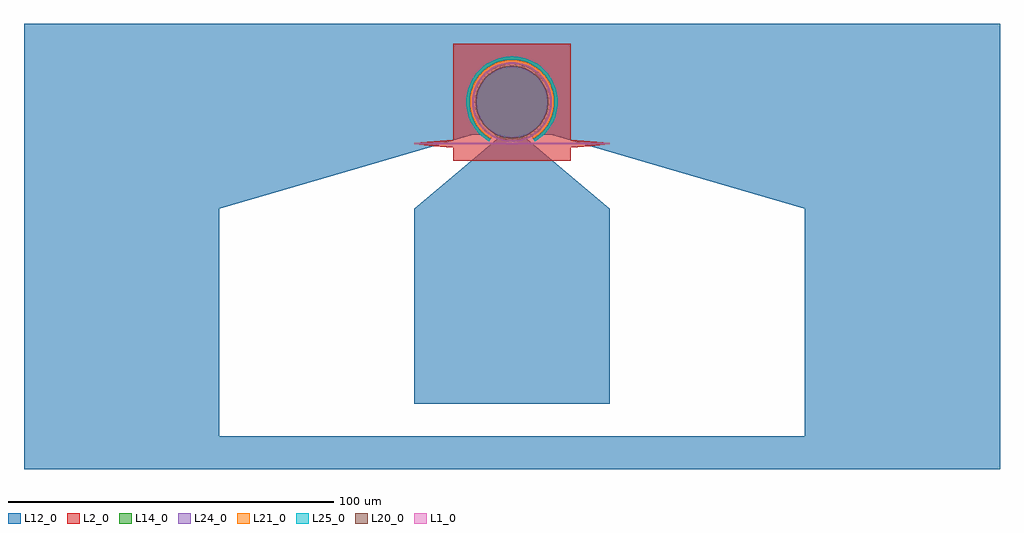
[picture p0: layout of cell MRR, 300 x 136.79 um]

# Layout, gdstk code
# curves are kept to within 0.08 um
import gdstk
lib = gdstk.Library(unit=1e-6, precision=1e-09)
def R(c, l, rs):  # rectangles x0, y0, x1, y1
    for r in rs: c.add(gdstk.rectangle(r[:2], r[2:], *l))
def P(c, l, *ps):  # polygons
    for p in ps: c.add(gdstk.Polygon(p, *l))
L1_0 = (1, 0)
L2_0 = (2, 0)
L12_0 = (12, 0)
L14_0 = (14, 0)
L20_0 = (20, 0)
L21_0 = (21, 0)
L24_0 = (24, 0)
L25_0 = (25, 0)

mrr = lib.new_cell('MRR')
R(mrr, L1_0, [(0,-0.25,60,0.25)])
P(mrr, L1_0, [(31.05,0.59),(33.115,0.945),(34.445,1.38),(35.715,1.96),(36.915,2.685),(38.02,3.535),(39.485,5.04),(40.665,6.77),(41.54,8.68),(41.93,10.02),(42.17,11.4),(42.23,13.495),(42.07,14.885),(41.755,16.245),(40.995,18.2),(40.305,19.42),(39.485,20.55),(38.02,22.055),(36.915,22.905),(35.715,23.63),(33.785,24.445),(32.435,24.8),(31.05,25),(28.95,25),(26.885,24.645),(24.91,23.94),(23.675,23.285),(22.52,22.495),(20.975,21.08),(19.695,19.42),(19.005,18.2),(18.46,16.91),(17.93,14.885),(17.75,12.795),(18.25,12.795),(18.33,14.16),(18.565,15.505),(19.21,17.45),(19.825,18.67),(20.575,19.81),(21.455,20.86),(22.445,21.795),(23.545,22.61),(24.725,23.295),(25.98,23.835),(27.29,24.23),(28.635,24.465),(30,24.545),(31.365,24.465),(32.71,24.23),(34.02,23.835),(35.275,23.295),(37.015,22.22),(38.065,21.34),(39,20.35),(39.815,19.25),(40.5,18.07),(41.04,16.815),(41.435,15.505),(41.67,14.16),(41.75,12.795),(41.67,11.43),(41.435,10.085),(41.04,8.775),(40.5,7.52),(39.815,6.34),(39,5.24),(37.555,3.795),(36.455,2.98),(34.655,2.005),(33.37,1.54),(31.365,1.125),(30,1.045),(28.635,1.125),(26.63,1.54),(25.345,2.005),(23.545,2.98),(22.445,3.795),(21,5.24),(19.825,6.92),(18.96,8.775),(18.43,10.755),(18.25,12.795),(17.75,12.795),(17.77,12.095),(17.93,10.705),(18.245,9.345),(19.005,7.39),(19.695,6.17),(20.515,5.04),(21.98,3.535),(23.085,2.685),(24.285,1.96),(26.215,1.145),(27.565,0.79),(28.95,0.59)])
P(mrr, L2_0, [(54,0.75),(48,1.25),(48,30.795),(12,30.795),(12,1.25),(0,0.25),(0,-0.25),(12,-1.25),(12,-5.205),(48,-5.205),(48,-1.25),(60,-0.25),(60,0.25)])
P(mrr, L12_0, [(46.5,-8.602),(33.457,2.41),(35.089,3.099),(36.22,3.783),(38.196,5.534),(39.696,7.706),(40.632,10.174),(40.95,12.795),(40.632,15.416),(39.696,17.884),(38.196,20.056),(36.753,21.415),(35.665,22.166),(34.494,22.78),(31.974,23.566),(29.339,23.725),(27.379,23.427),(24.911,22.491),(22.739,20.991),(20.988,19.015),(20.015,17.289),(19.229,14.769),(19.07,12.134),(19.229,10.821),(19.546,9.537),(20.629,7.13),(22.257,5.052),(24.335,3.424),(26.543,2.41),(0,-20),(0,-80),(60,-80),(60,-20)],
  [(180,36.795),(-120,36.795),(-120,-90),(-60,-90),(-60,-20),(18,2.795),(21.62,2.795),(20.455,3.895),(19.53,5.005),(18.38,6.855),(17.795,8.18),(17.195,10.27),(16.995,11.71),(16.955,13.16),(17.195,15.32),(17.555,16.725),(18.38,18.735),(19.11,19.99),(20.455,21.695),(21.505,22.7),(23.265,23.975),(25.215,24.935),(26.595,25.39),(28.73,25.785),(30.905,25.815),(33.055,25.48),(35.12,24.8),(37.04,23.78),(38.77,22.46),(40.25,20.87),(41.45,19.055),(42.33,17.07),(42.87,14.96),(43.05,12.795),(42.87,10.63),(42.33,8.52),(41.45,6.535),(40.25,4.72),(38.38,2.795),(42,2.795),(120,-20),(120,-90),(-120,-90),(-120,-100),(180,-100)])
P(mrr, L14_0, [(40.95,12.795),(40.771,14.769),(39.985,17.289),(39.012,19.015),(37.743,20.538),(36.22,21.807),(34.494,22.78),(31.974,23.566),(30,23.745),(28.026,23.566),(25.506,22.78),(23.78,21.807),(22.257,20.538),(20.988,19.015),(20.015,17.289),(19.229,14.769),(19.05,12.795),(19.229,10.821),(20.015,8.301),(20.988,6.575),(22.257,5.052),(23.78,3.783),(25.506,2.81),(28.026,2.024),(30,1.845),(31.974,2.024),(34.494,2.81),(36.22,3.783),(37.743,5.052),(39.012,6.575),(39.985,8.301),(40.771,10.821)],
  [(37.025,0.627),(38.295,1.455),(39.469,2.415),(40.532,3.496),(41.473,4.685),(42.28,5.968),(42.944,7.331),(43.656,9.489),(43.932,10.98),(44.047,12.492),(43.912,14.76),(43.619,16.248),(43.168,17.695),(42.205,19.754),(41.384,21.029),(40.431,22.208),(39.356,23.277),(38.172,24.224),(36.223,25.392),(34.829,25.989),(33.379,26.433),(31.89,26.717),(30.379,26.84),(28.11,26.717),(26.621,26.433),(25.171,25.989),(23.107,25.038),(21.828,24.224),(20.644,23.277),(19.076,21.631),(18.188,20.403),(17.437,19.086),(16.587,16.978),(16.214,15.508),(16.002,14.007),(15.99,11.734),(16.186,10.231),(16.543,8.757),(17.056,7.331),(17.72,5.968),(18.982,4.077),(19.985,2.941),(21.105,1.919),(22.975,0.627),(23.475,1.493),(22.259,2.289),(21.139,3.215),(20.129,4.259),(19.241,5.409),(18.487,6.651),(17.875,7.969),(17.414,9.347),(17.108,10.768),(16.963,12.214),(16.979,13.667),(17.157,15.109),(17.494,16.522),(17.986,17.89),(18.626,19.194),(19.849,20.996),(20.824,22.074),(22.495,23.471),(24.375,24.571),(25.719,25.123),(27.829,25.663),(29.273,25.825),(31.451,25.764),(33.588,25.342),(35.625,24.571),(36.899,23.872),(38.088,23.037),(39.679,21.549),(41,19.817),(41.712,18.551),(42.506,16.522),(42.952,14.39),(43.037,12.214),(42.892,10.768),(42.375,8.652),(41.838,7.302),(40.759,5.409),(39.381,3.723),(38.314,2.736),(36.525,1.493)])
P(mrr, L20_0, [(30.86,0.895),(33.555,1.405),(35.46,2.19),(37.205,3.285),(39.19,5.185),(40.685,7.485),(41.44,9.405),(41.85,11.425),(41.91,13.48),(41.44,16.185),(40.685,18.105),(39.61,19.865),(38.25,21.41),(37.205,22.305),(36.065,23.07),(34.205,23.96),(32.895,24.37),(31.545,24.625),(29.485,24.715),(27.44,24.445),(25.475,23.835),(23.64,22.89),(21.505,21.17),(20.19,19.585),(18.9,17.16),(18.31,15.185),(18.075,12.795),(19.05,12.795),(19.13,14.115),(19.545,16.055),(20.305,17.885),(20.99,19.015),(22.255,20.54),(23.245,21.415),(24.335,22.165),(26.115,23.035),(28.68,23.665),(31.32,23.665),(33.885,23.035),(35.09,22.49),(36.755,21.415),(37.745,20.54),(38.62,19.55),(39.985,17.29),(40.455,16.055),(40.77,14.77),(40.93,13.455),(40.93,12.135),(40.455,9.535),(39.37,7.13),(38.62,6.04),(37.745,5.05),(36.755,4.175),(35.09,3.1),(33.885,2.555),(31.975,2.025),(30.66,1.865),(29.34,1.865),(28.025,2.025),(26.115,2.555),(24.91,3.1),(23.245,4.175),(22.255,5.05),(21.38,6.04),(20.305,7.705),(19.76,8.91),(19.23,10.82),(19.05,12.795),(18.075,12.795),(18.075,12.45),(18.31,10.405),(19.17,7.795),(20.19,6.005),(22,3.945),(23.64,2.7),(24.845,2.035),(26.12,1.515),(28.8,0.925)])
P(mrr, L21_0, [(36.525,1.493),(38.314,2.736),(39.381,3.723),(40.331,4.822),(41.153,6.02),(41.838,7.302),(42.586,9.347),(42.892,10.768),(43.037,12.214),(42.952,14.39),(42.506,16.522),(42.014,17.89),(41.374,19.194),(40.592,20.418),(39.679,21.549),(38.088,23.037),(36.899,23.872),(35.625,24.571),(33.588,25.342),(32.171,25.663),(30.727,25.825),(28.549,25.764),(27.116,25.522),(25.719,25.123),(23.728,24.239),(21.912,23.037),(20.824,22.074),(19.849,20.996),(18.626,19.194),(17.986,17.89),(17.494,16.522),(17.157,15.109),(16.979,13.667),(17.016,11.489),(17.241,10.053),(17.625,8.652),(18.487,6.651),(19.241,5.409),(20.619,3.723),(21.686,2.736),(23.475,1.493),(24.035,2.463),(22.314,3.671),(20.831,5.162),(19.633,6.891),(19.012,8.149),(18.543,9.471),(18.137,11.534),(18.1,13.637),(18.432,15.713),(19.124,17.699),(20.154,19.532),(21.49,21.156),(23.09,22.52),(24.905,23.582),(26.878,24.309),(28.949,24.679),(31.051,24.679),(33.122,24.309),(34.452,23.863),(36.326,22.91),(38.004,21.642),(38.987,20.641),(39.846,19.532),(40.876,17.699),(41.568,15.713),(41.83,14.335),(41.917,12.234),(41.769,10.839),(41.457,9.471),(40.988,8.149),(40.367,6.891),(39.169,5.162),(37.686,3.671),(35.965,2.463)])
P(mrr, L24_0, [(40.95,12.795),(40.771,14.769),(39.985,17.289),(39.012,19.015),(37.743,20.538),(36.22,21.807),(34.494,22.78),(31.974,23.566),(30,23.745),(28.026,23.566),(25.506,22.78),(23.78,21.807),(22.257,20.538),(20.988,19.015),(20.015,17.289),(19.229,14.769),(19.05,12.795),(19.229,10.821),(20.015,8.301),(20.988,6.575),(22.257,5.052),(23.78,3.783),(25.506,2.81),(28.026,2.024),(30,1.845),(31.974,2.024),(34.494,2.81),(36.22,3.783),(37.743,5.052),(39.012,6.575),(39.985,8.301),(40.771,10.821)])
P(mrr, L25_0, [(37.025,0.627),(38.295,1.455),(39.469,2.415),(40.532,3.496),(41.473,4.685),(42.28,5.968),(42.944,7.331),(43.656,9.489),(43.932,10.98),(44.047,12.492),(43.912,14.76),(43.619,16.248),(43.168,17.695),(42.205,19.754),(41.384,21.029),(40.431,22.208),(39.356,23.277),(38.172,24.224),(36.223,25.392),(34.829,25.989),(33.379,26.433),(31.89,26.717),(30.379,26.84),(28.11,26.717),(26.621,26.433),(25.171,25.989),(23.107,25.038),(21.828,24.224),(20.644,23.277),(19.076,21.631),(18.188,20.403),(17.437,19.086),(16.587,16.978),(16.214,15.508),(16.002,14.007),(15.99,11.734),(16.186,10.231),(16.543,8.757),(17.056,7.331),(17.72,5.968),(18.982,4.077),(19.985,2.941),(21.105,1.919),(22.975,0.627),(23.475,1.493),(22.259,2.289),(21.139,3.215),(20.129,4.259),(19.241,5.409),(18.487,6.651),(17.875,7.969),(17.414,9.347),(17.108,10.768),(16.963,12.214),(16.979,13.667),(17.157,15.109),(17.494,16.522),(17.986,17.89),(18.626,19.194),(19.849,20.996),(20.824,22.074),(22.495,23.471),(24.375,24.571),(25.719,25.123),(27.829,25.663),(29.273,25.825),(31.451,25.764),(33.588,25.342),(35.625,24.571),(36.899,23.872),(38.088,23.037),(39.679,21.549),(41,19.817),(41.712,18.551),(42.506,16.522),(42.952,14.39),(43.037,12.214),(42.892,10.768),(42.375,8.652),(41.838,7.302),(40.759,5.409),(39.381,3.723),(38.314,2.736),(36.525,1.493)])

lib.write_gds('MRR.gds')
